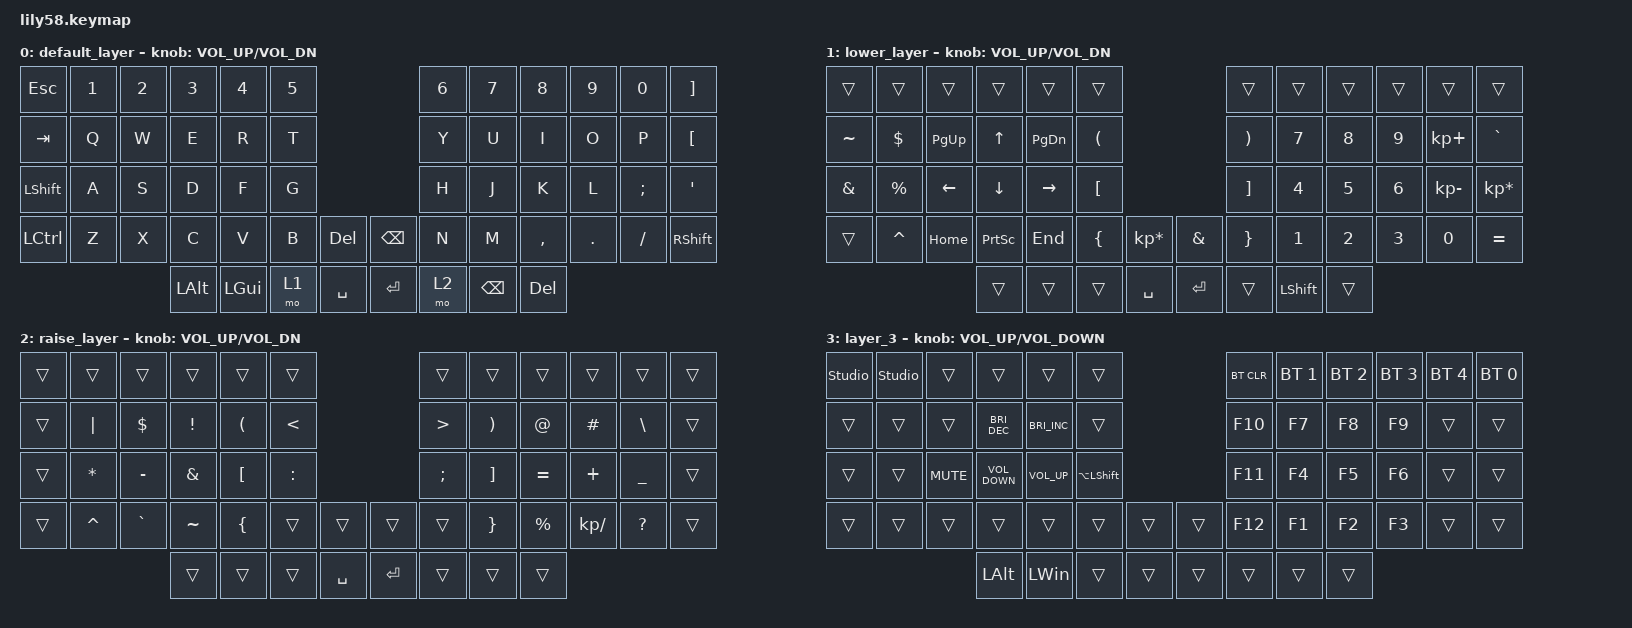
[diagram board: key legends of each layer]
/*
 * Copyright (c) 2020 The ZMK Contributors
 *
 * SPDX-License-Identifier: MIT
 */

#include <behaviors.dtsi>
#include <dt-bindings/zmk/bt.h>
#include <dt-bindings/zmk/keys.h>

/ {
    keymap {
        compatible = "zmk,keymap";

        default_layer {
            // ------------------------------------------------------------------------------------------------------------
            // |  ESC  |  1  |  2  |  3   |  4   |  5   |                   |  6   |  7    |  8    |  9   |   0   |   `   |
            // |  TAB  |  Q  |  W  |  E   |  R   |  T   |                   |  Y   |  U    |  I    |  O   |   P   |   -   |
            // |  CTRL |  A  |  S  |  D   |  F   |  G   |                   |  H   |  J    |  K    |  L   |   ;   |   '   |
            // | SHIFT |  Z  |  X  |  C   |  V   |  B   |   "["  |  |  "]"  |  N   |  M    |  ,    |  .   |   /   | SHIFT |
            //                     | ALT  | GUI  | LOWER|  SPACE |  | ENTER | RAISE| BSPC  | GUI   |

            bindings = <
&kp ESC           &kp N1  &kp N2  &kp N3    &kp N4    &kp N5                              &kp N6  &kp N7         &kp N8     &kp N9   &kp N0    &kp RIGHT_BRACKET
&kp TAB           &kp Q   &kp W   &kp E     &kp R     &kp T                               &kp Y   &kp U          &kp I      &kp O    &kp P     &kp LEFT_BRACKET
&kp LEFT_SHIFT    &kp A   &kp S   &kp D     &kp F     &kp G                               &kp H   &kp J          &kp K      &kp L    &kp SEMI  &kp SQT
&kp LEFT_CONTROL  &kp Z   &kp X   &kp C     &kp V     &kp B   &kp DEL      &kp BACKSPACE  &kp N   &kp M          &kp COMMA  &kp DOT  &kp FSLH  &kp RIGHT_SHIFT
                                  &kp LALT  &kp LGUI  &mo 1   &kp SPACE    &kp RET        &mo 2   &kp BACKSPACE  &kp DEL
            >;

            sensor-bindings = <&inc_dec_kp C_VOL_UP C_VOL_DN>;
        };

        lower_layer {
            // --------------------------------------------------------------------------------------------------------------
            // | LPAD  | BRDn | BRUp |  MUT |  Vo- |  Vo+ |                   |      |       |       |      |       |       |
            // |  F1   |  F2  |  F3  |  F4  |  F5  |  F6  |                   |  F7  |  F8   |  F9   |  F10 |  F11  |  F12  |
            // |   `   |  !   |  @   |  #   |  $   |  %   |                   |  ^   |  &    |  *    |  (   |   )   |   ~   |
            // |       |      |      |      |      |      |        |  |       |      |  _    |  +    |  {   |   }   |  "|"  |
            //                       |      |      |      |        |  |       |      |       |       |

            bindings = <
&trans         &trans       &trans       &trans           &trans         &trans                                                  &trans                 &trans          &trans  &trans  &trans        &trans
&kp TILDE      &kp DOLLAR   &kp PAGE_UP  &kp UP           &kp PAGE_DOWN  &kp LEFT_PARENTHESIS                                    &kp RIGHT_PARENTHESIS  &kp N7          &kp N8  &kp N9  &kp KP_PLUS   &kp GRAVE
&kp AMPERSAND  &kp PERCENT  &kp LEFT     &kp DOWN         &kp RIGHT      &kp LEFT_BRACKET                                        &kp RIGHT_BRACKET      &kp N4          &kp N5  &kp N6  &kp KP_MINUS  &kp KP_MULTIPLY
&trans         &kp CARET    &kp HOME     &kp PRINTSCREEN  &kp END        &kp LEFT_BRACE        &kp KP_MULTIPLY    &kp AMPERSAND  &kp RIGHT_BRACE        &kp N1          &kp N2  &kp N3  &kp NUMBER_0  &kp EQUAL
                                         &trans           &trans         &trans                &kp SPACE          &kp ENTER      &trans                 &kp LEFT_SHIFT  &trans
            >;

            sensor-bindings = <&inc_dec_kp C_VOL_UP C_VOL_DN>;
        };

        raise_layer {
            // ------------------------------------------------------------------------------------------------------------
            // |       |     |     |      |      |      |                   |      |       |       |      |       |       |
            // |   `   |  1  |  2  |  3   |  4   |  5   |                   |  6   |   7   |   8   |  9   |   0   |       |
            // |   F1  |  F2 |  F3 |  F4  |  F5  |  F6  |                   |      |   <-  |   v   |  ^   |  ->   |       |
            // |   F7  |  F8 |  F9 |  F10 |  F11 |  F12 |        |  |       |  +   |   -   |   =   |  [   |   ]   |   \   |
            //                     |      |      |      |        |  |       |      |       |       |

            bindings = <
&trans  &trans     &trans      &trans           &trans                &trans                                 &trans            &trans                 &trans       &trans         &trans         &trans
&trans  &kp PIPE   &kp DOLLAR  &kp EXCLAMATION  &kp LEFT_PARENTHESIS  &kp LESS_THAN                          &kp GREATER_THAN  &kp RIGHT_PARENTHESIS  &kp AT_SIGN  &kp POUND      &kp BACKSLASH  &trans
&trans  &kp ASTRK  &kp MINUS   &kp AMPERSAND    &kp LEFT_BRACKET      &kp COLON                              &kp SEMICOLON     &kp RIGHT_BRACKET      &kp EQUAL    &kp PLUS       &kp UNDER      &trans
&trans  &kp CARET  &kp GRAVE   &kp TILDE        &kp LEFT_BRACE        &trans         &trans       &trans     &trans            &kp RIGHT_BRACE        &kp PERCENT  &kp KP_DIVIDE  &kp QUESTION   &trans
                               &trans           &trans                &trans         &kp SPACE    &kp ENTER  &trans            &trans                 &trans
            >;

            sensor-bindings = <&inc_dec_kp C_VOL_UP C_VOL_DN>;
        };

        layer_3 {
            bindings = <
&studio_unlock  &studio_unlock  &trans      &trans                &trans                &trans                                &bt BT_CLR  &bt BT_SEL 1  &bt BT_SEL 2  &bt BT_SEL 3  &bt BT_SEL 4  &bt BT_SEL 0
&trans          &trans          &trans      &kp C_BRIGHTNESS_DEC  &kp C_BRIGHTNESS_INC  &trans                                &kp F10     &kp F7        &kp F8        &kp F9        &trans        &trans
&trans          &trans          &kp K_MUTE  &kp C_VOLUME_DOWN     &kp C_VOLUME_UP       &kp LA(LEFT_SHIFT)                    &kp F11     &kp F4        &kp F5        &kp F6        &trans        &trans
&trans          &trans          &trans      &trans                &trans                &trans              &trans    &trans  &kp F12     &kp F1        &kp F2        &kp F3        &trans        &trans
                                            &kp LEFT_ALT          &kp LEFT_WIN          &trans              &trans    &trans  &trans      &trans        &trans
            >;

            sensor-bindings = <&inc_dec_kp C_VOLUME_UP C_VOLUME_DOWN>;
        };
    };

    conditional_layers {
        compatible = "zmk,conditional-layers";

        aaa {
            if-layers = <1 2>;
            then-layer = <3>;
        };
    };
};
